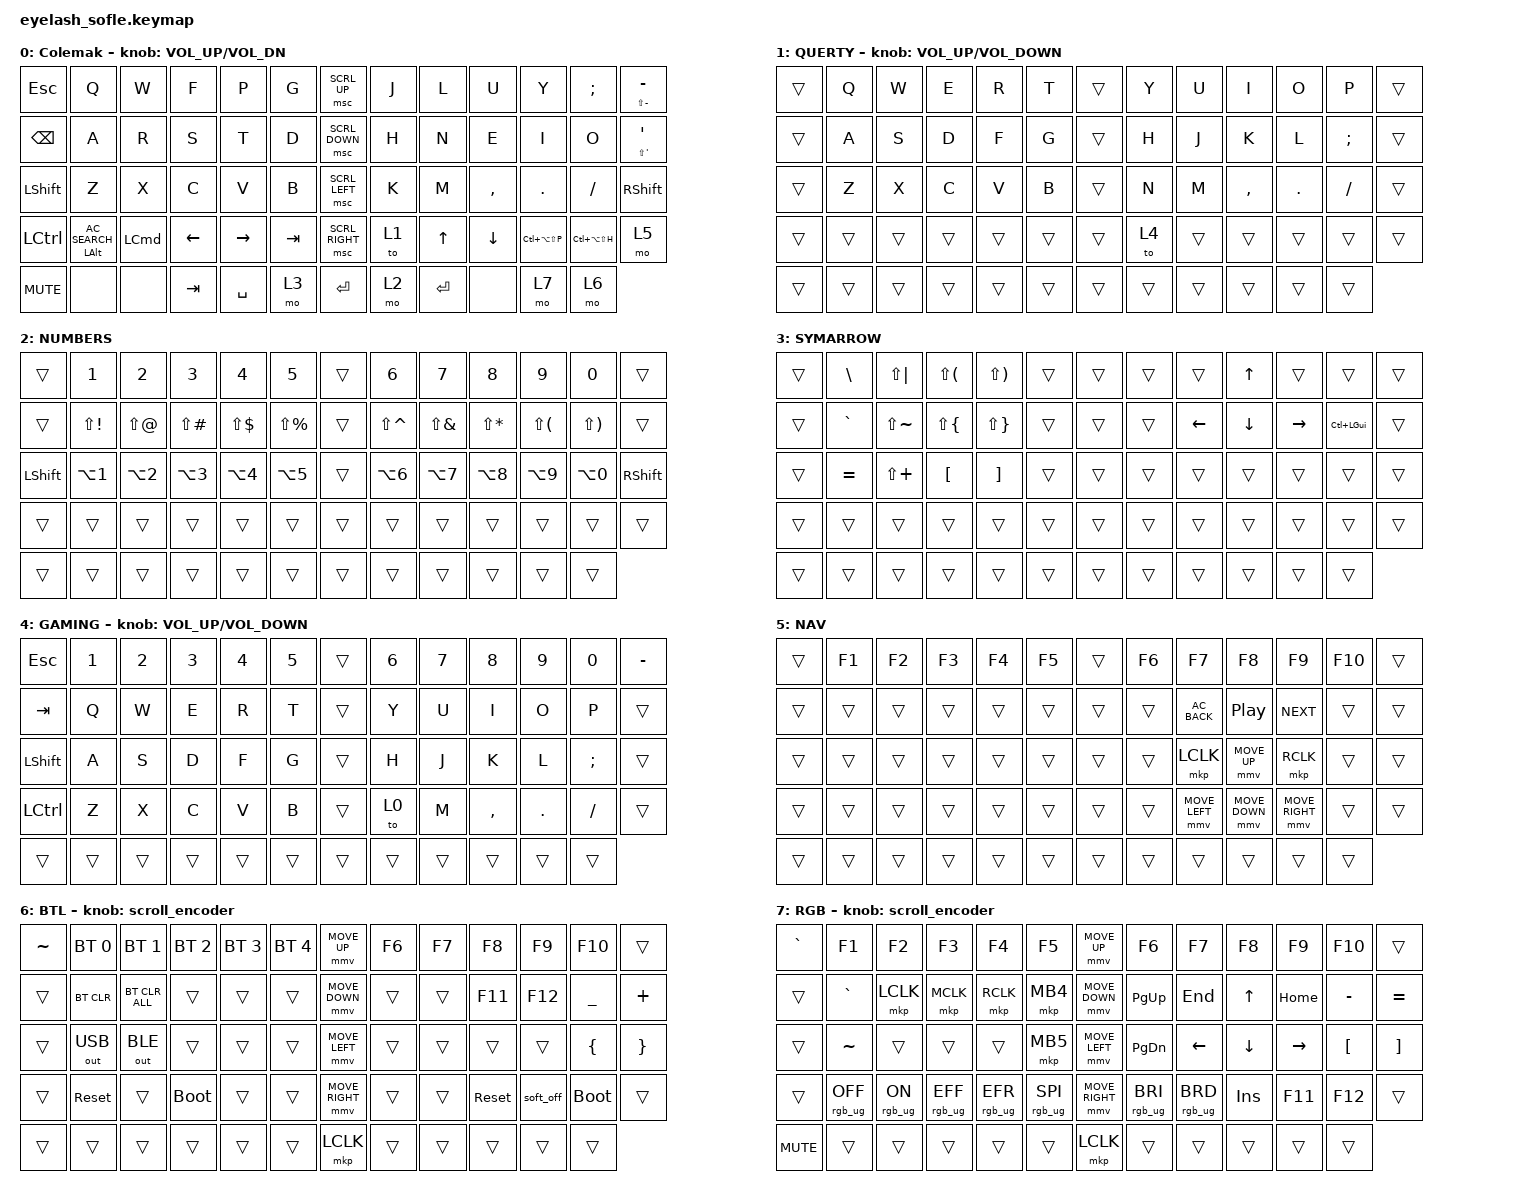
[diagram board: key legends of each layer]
#define ZMK_POINTING_DEFAULT_MOVE_VAL 1200  // 600
#define ZMK_POINTING_DEFAULT_SCRL_VAL 25   // 10

#include <input/processors.dtsi>
#include <zephyr/dt-bindings/input/input-event-codes.h>
#include <behaviors.dtsi>
#include <dt-bindings/zmk/bt.h>
#include <dt-bindings/zmk/keys.h>
#include <dt-bindings/zmk/outputs.h>
#include <dt-bindings/zmk/pointing.h>
#include <dt-bindings/zmk/rgb.h>

&mmv_input_listener { input-processors = <&zip_xy_scaler 2 1>; };

&msc_input_listener { input-processors = <&zip_scroll_scaler 2 1>; };

&msc {
    acceleration-exponent = <1>;      // 0
    time-to-max-speed-ms = <100>;       // 300
    delay-ms = <0>;                   // 0
};

&mmv {
    time-to-max-speed-ms = <500>;
    acceleration-exponent = <1>;
    trigger-period-ms = <16>;
};

/ {
    scroll_encoder: scroll_encoder {
        compatible = "zmk,behavior-sensor-rotate";
        #sensor-binding-cells = <0>;
        bindings = <&msc SCRL_DOWN>, <&msc SCRL_UP>;

        tap-ms = <100>;
    };

    behaviors {
    };

    keymap {
        compatible = "zmk,keymap";

        Colemak {
            bindings = <
&kp ESC           &kp Q                     &kp W             &kp F           &kp P      &kp G      &msc SCRL_UP     &kp J  &kp L         &kp U           &kp Y              &kp SEMICOLON      &mt LS(MINUS) MINUS
&kp BACKSPACE     &kp A                     &kp R             &kp S           &kp T      &kp D      &msc SCRL_DOWN   &kp H  &kp N         &kp E           &kp I              &kp O              &mt LS(SQT) SQT
&kp LEFT_SHIFT    &kp Z                     &kp X             &kp C           &kp V      &kp B      &msc SCRL_LEFT   &kp K  &kp M         &kp COMMA       &kp DOT            &kp SLASH          &kp RIGHT_SHIFT
&kp LEFT_CONTROL  &mt LEFT_ALT C_AC_SEARCH  &kp LEFT_COMMAND  &kp LEFT_ARROW  &kp RIGHT  &kp TAB    &msc SCRL_RIGHT  &to 1  &kp UP_ARROW  &kp DOWN_ARROW  &kp LC(LA(LS(P)))  &kp LC(LA(LS(H)))  &mo 5
&kp C_MUTE        &none                     &none             &kp TAB         &kp SPACE  &mo 3      &kp ENTER        &mo 2  &kp ENTER     &none           &mo 7              &mo 6
            >;

            sensor-bindings = <&inc_dec_kp C_VOLUME_UP C_VOL_DN>;
            display-name = "Colemak";
        };

        QUERTY {
            bindings = <
&trans  &kp Q   &kp W   &kp E   &kp R   &kp T     &trans  &kp Y   &kp U   &kp I      &kp O    &kp P     &trans
&trans  &kp A   &kp S   &kp D   &kp F   &kp G     &trans  &kp H   &kp J   &kp K      &kp L    &kp SEMI  &trans
&trans  &kp Z   &kp X   &kp C   &kp V   &kp B     &trans  &kp N   &kp M   &kp COMMA  &kp DOT  &kp FSLH  &trans
&trans  &trans  &trans  &trans  &trans  &trans    &trans  &to 4   &trans  &trans     &trans   &trans    &trans
&trans  &trans  &trans  &trans  &trans  &trans    &trans  &trans  &trans  &trans     &trans   &trans
            >;

            sensor-bindings = <&inc_dec_kp C_VOLUME_UP C_VOLUME_DOWN>;
            label = "QUERTY";
        };

        NUMBERS {
            bindings = <
&trans          &kp N1            &kp N2            &kp N3            &kp N4            &kp N5              &trans  &kp N6            &kp N7            &kp N8            &kp N9            &kp N0            &trans
&trans          &kp LS(EXCL)      &kp LS(AT)        &kp LS(POUND)     &kp LS(DLLR)      &kp LS(PRCNT)       &trans  &kp LS(CARET)     &kp LS(AMPS)      &kp LS(STAR)      &kp LS(LPAR)      &kp LS(RPAR)      &trans
&kp LEFT_SHIFT  &kp LA(NUMBER_1)  &kp LA(NUMBER_2)  &kp LA(NUMBER_3)  &kp LA(NUMBER_4)  &kp LA(NUMBER_5)    &trans  &kp LA(NUMBER_6)  &kp LA(NUMBER_7)  &kp LA(NUMBER_8)  &kp LA(NUMBER_9)  &kp LA(NUMBER_0)  &kp RIGHT_SHIFT
&trans          &trans            &trans            &trans            &trans            &trans              &trans  &trans            &trans            &trans            &trans            &trans            &trans
&trans          &trans            &trans            &trans            &trans            &trans              &trans  &trans            &trans            &trans            &trans            &trans
            >;

            label = "NUMBERS";
        };

        SYMARROW {
            bindings = <
&trans  &kp BSLH   &kp LS(PIPE)   &kp LS(LPAR)  &kp LS(RPAR)  &trans    &trans  &trans  &trans    &kp UP    &trans     &trans        &trans
&trans  &kp GRAVE  &kp LS(TILDE)  &kp LS(LBRC)  &kp LS(RBRC)  &trans    &trans  &trans  &kp LEFT  &kp DOWN  &kp RIGHT  &kp LC(LGUI)  &trans
&trans  &kp EQUAL  &kp LS(PLUS)   &kp LBKT      &kp RBKT      &trans    &trans  &trans  &trans    &trans    &trans     &trans        &trans
&trans  &trans     &trans         &trans        &trans        &trans    &trans  &trans  &trans    &trans    &trans     &trans        &trans
&trans  &trans     &trans         &trans        &trans        &trans    &trans  &trans  &trans    &trans    &trans     &trans
            >;

            label = "SYMARROW";
        };

        GAMING {
            bindings = <
&kp ESC    &kp N1  &kp N2  &kp N3  &kp N4  &kp N5    &trans  &kp N6  &kp N7  &kp N8     &kp N9   &kp N0    &kp MINUS
&kp TAB    &kp Q   &kp W   &kp E   &kp R   &kp T     &trans  &kp Y   &kp U   &kp I      &kp O    &kp P     &trans
&kp LSHFT  &kp A   &kp S   &kp D   &kp F   &kp G     &trans  &kp H   &kp J   &kp K      &kp L    &kp SEMI  &trans
&kp LCTRL  &kp Z   &kp X   &kp C   &kp V   &kp B     &trans  &to 0   &kp M   &kp COMMA  &kp DOT  &kp FSLH  &trans
&trans     &trans  &trans  &trans  &trans  &trans    &trans  &trans  &trans  &trans     &trans   &trans
            >;

            sensor-bindings = <&inc_dec_kp C_VOL_UP C_VOLUME_DOWN>;
            label = "GAMING";
        };

        NAV {
            bindings = <
&trans  &kp F1  &kp F2  &kp F3  &kp F4  &kp F5    &trans  &kp F6  &kp F7          &kp F8            &kp F9           &kp F10  &trans
&trans  &trans  &trans  &trans  &trans  &trans    &trans  &trans  &kp C_AC_BACK   &kp C_PLAY_PAUSE  &kp C_NEXT       &trans   &trans
&trans  &trans  &trans  &trans  &trans  &trans    &trans  &trans  &mkp LCLK       &mmv MOVE_UP      &mkp RCLK        &trans   &trans
&trans  &trans  &trans  &trans  &trans  &trans    &trans  &trans  &mmv MOVE_LEFT  &mmv MOVE_DOWN    &mmv MOVE_RIGHT  &trans   &trans
&trans  &trans  &trans  &trans  &trans  &trans    &trans  &trans  &trans          &trans            &trans           &trans
            >;

            label = "NAV";
        };

        BTL {
            bindings = <
&kp TILDE  &bt BT_SEL 0  &bt BT_SEL 1    &bt BT_SEL 2  &bt BT_SEL 3  &bt BT_SEL 4    &mmv MOVE_UP     &kp F6  &kp F7  &kp F8      &kp F9     &kp F10      &trans
&trans     &bt BT_CLR    &bt BT_CLR_ALL  &trans        &trans        &trans          &mmv MOVE_DOWN   &trans  &trans  &kp F11     &kp F12    &kp UNDER    &kp PLUS
&trans     &out OUT_USB  &out OUT_BLE    &trans        &trans        &trans          &mmv MOVE_LEFT   &trans  &trans  &trans      &trans     &kp LBRC     &kp RBRC
&trans     &sys_reset    &trans          &bootloader   &trans        &trans          &mmv MOVE_RIGHT  &trans  &trans  &sys_reset  &soft_off  &bootloader  &trans
&trans     &trans        &trans          &trans        &trans        &trans          &mkp LCLK        &trans  &trans  &trans      &trans     &trans
            >;

            sensor-bindings = <&scroll_encoder>;
            label = "BTL";
        };

        RGB {
            bindings = <
&kp GRAVE   &kp F1           &kp F2          &kp F3           &kp F4           &kp F5             &mmv MOVE_UP     &kp F6           &kp F7           &kp F8      &kp F9     &kp F10           &trans
&trans      &kp GRAVE        &mkp LCLK       &mkp MCLK        &mkp RCLK        &mkp MB4           &mmv MOVE_DOWN   &kp PG_UP        &kp END          &kp UP      &kp HOME   &kp MINUS         &kp EQUAL
&trans      &kp TILDE        &trans          &trans           &trans           &mkp MB5           &mmv MOVE_LEFT   &kp PG_DN        &kp LEFT         &kp DOWN    &kp RIGHT  &kp LEFT_BRACKET  &kp RIGHT_BRACKET
&trans      &rgb_ug RGB_OFF  &rgb_ug RGB_ON  &rgb_ug RGB_EFF  &rgb_ug RGB_EFR  &rgb_ug RGB_SPI    &mmv MOVE_RIGHT  &rgb_ug RGB_BRI  &rgb_ug RGB_BRD  &kp INSERT  &kp F11    &kp F12           &trans
&kp C_MUTE  &trans           &trans          &trans           &trans           &trans             &mkp LCLK        &trans           &trans           &trans      &trans     &trans
            >;

            display-name = "RGB";
            sensor-bindings = <&scroll_encoder>;
        };
    };
};
